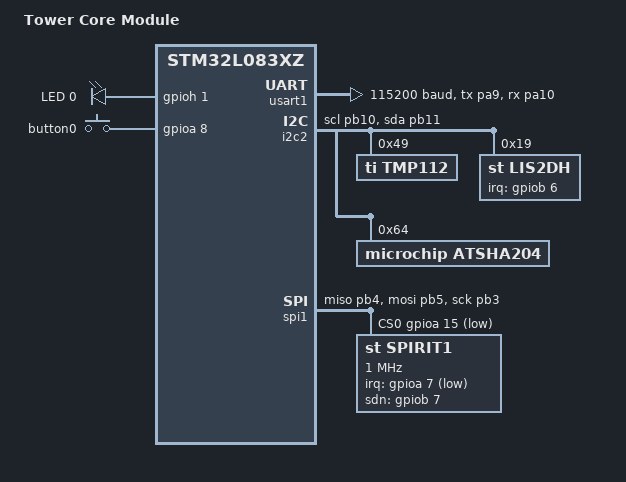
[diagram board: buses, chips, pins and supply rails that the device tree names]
/dts-v1/;
#include <st/l0/stm32l083Xz.dtsi>
#include <st/l0/stm32l083c(b-z)tx-pinctrl.dtsi>

/ {
	model = "Tower Core Module";
	compatible = "hardwario,twr-core-module";

	chosen {
		zephyr,sram = &sram0;
		zephyr,flash = &flash0;
		zephyr,console = &usart1;
		zephyr,shell-uart = &usart1;
	};

	leds {
		compatible = "gpio-leds";
		led0: led_0 {
			gpios = <&gpioh 1 GPIO_ACTIVE_HIGH>;
			label = "LED 0";
		};
	};
	
	buttons {
		compatible = "gpio-keys";
		button0: button_0 {
			gpios = <&gpioa 8 GPIO_ACTIVE_HIGH>;
		};
	};

	aliases {
		led0 = &led0;
		sw0 = &button0;
	};
};

&clk_lsi {
	status = "okay";
};

&clk_hsi48 {
	status = "okay";
};

&clk_hsi {
	status = "okay";
};

&pll {
	status = "okay";
	div = <2>;
	mul = <4>;
	clocks = <&clk_hsi>;
};

&rcc {
	status = "okay";
	clocks = <&pll>;
	clock-frequency = <DT_FREQ_M(32)>;
	ahb-prescaler = <1>;
	apb1-prescaler = <1>;
	apb2-prescaler = <1>;
};

&usart1 {
	status = "okay";
	pinctrl-0 = <&usart1_tx_pa9 &usart1_rx_pa10>;
	pinctrl-names = "default";
	current-speed = <115200>;
	parity = "none";
	stop-bits = "1";
	data-bits = <8>;
};

&i2c2 {
	status = "okay";
	pinctrl-0 = <&i2c2_scl_pb10 &i2c2_sda_pb11>;
	pinctrl-names = "default";
	
	tmp112@49 {
		compatible = "ti,tmp112";
		status = "okay";
		reg = <0x49>;
	};
	
	lis2dh@19 {
		compatible = "st,lis2dh";
		status = "okay";
		reg = <0x19>;
		irq-gpios = <&gpiob 6 GPIO_ACTIVE_HIGH>;
	};
	
	atsha204@64 {
		compatible = "microchip,atsha204";
		status = "okay";
		reg = <0x64>;
	};
};

&spi1 {
	status = "okay";
	pinctrl-0 = <&spi1_miso_pb4 &spi1_mosi_pb5 &spi1_sck_pb3>;
	pinctrl-names = "default";
	cs-gpios = <&gpioa 15 GPIO_ACTIVE_LOW>;

	spirit1: spirit1@0 {
		status = "okay";
		compatible = "st,spirit1";
		reg = <0>;
		spi-max-frequency = <DT_FREQ_M(1)>;
		irq-gpios = <&gpioa 7 (GPIO_PULL_DOWN | GPIO_ACTIVE_LOW)>;
		sdn-gpios = <&gpiob 7 GPIO_ACTIVE_HIGH>;
	};
};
